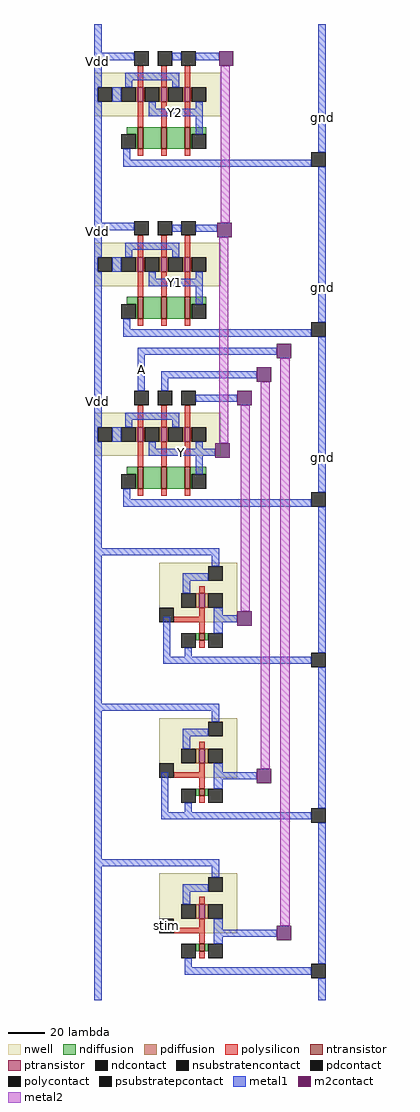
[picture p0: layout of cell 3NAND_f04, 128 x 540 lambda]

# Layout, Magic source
magic
tech tsmc
<< nwell >>
rect -18 180 52 204
rect -18 86 52 110
rect -18 -8 52 16
<< ntransistor >>
rect 6 162 9 174
rect 19 162 22 174
rect 32 162 35 174
rect 6 68 9 80
rect 19 68 22 80
rect 32 68 35 80
rect 6 -26 9 -14
rect 19 -26 22 -14
rect 32 -26 35 -14
<< ptransistor >>
rect 6 188 9 196
rect 19 188 22 196
rect 32 188 35 196
rect 6 94 9 102
rect 19 94 22 102
rect 32 94 35 102
rect 6 0 9 8
rect 19 0 22 8
rect 32 0 35 8
<< ndiffusion >>
rect 0 170 6 174
rect 5 162 6 170
rect 9 162 19 174
rect 22 162 32 174
rect 35 170 44 174
rect 35 162 36 170
rect 0 76 6 80
rect 5 68 6 76
rect 9 68 19 80
rect 22 68 32 80
rect 35 76 44 80
rect 35 68 36 76
rect 0 -18 6 -14
rect 5 -26 6 -18
rect 9 -26 19 -14
rect 22 -26 32 -14
rect 35 -18 44 -14
rect 35 -26 36 -18
<< pdiffusion >>
rect 5 188 6 196
rect 9 188 10 196
rect 18 188 19 196
rect 22 188 23 196
rect 31 188 32 196
rect 35 188 36 196
rect 5 94 6 102
rect 9 94 10 102
rect 18 94 19 102
rect 22 94 23 102
rect 31 94 32 102
rect 35 94 36 102
rect 5 0 6 8
rect 9 0 10 8
rect 18 0 19 8
rect 22 0 23 8
rect 31 0 32 8
rect 35 0 36 8
<< ndcontact >>
rect -3 162 5 170
rect 36 162 44 170
rect -3 68 5 76
rect 36 68 44 76
rect -3 -26 5 -18
rect 36 -26 44 -18
<< pdcontact >>
rect -3 188 5 196
rect 10 188 18 196
rect 23 188 31 196
rect 36 188 44 196
rect -3 94 5 102
rect 10 94 18 102
rect 23 94 31 102
rect 36 94 44 102
rect -3 0 5 8
rect 10 0 18 8
rect 23 0 31 8
rect 36 0 44 8
<< psubstratepcontact >>
rect 102 152 110 160
rect 102 58 110 66
rect 102 -36 110 -28
<< nsubstratencontact >>
rect -16 188 -8 196
rect -16 94 -8 102
rect -16 0 -8 8
<< polysilicon >>
rect 6 196 9 208
rect 19 196 22 208
rect 32 196 35 208
rect 6 174 9 188
rect 19 174 22 188
rect 32 174 35 188
rect 6 158 9 162
rect 19 158 22 162
rect 32 158 35 162
rect 6 102 9 114
rect 19 102 22 114
rect 32 102 35 114
rect 6 80 9 94
rect 19 80 22 94
rect 32 80 35 94
rect 6 64 9 68
rect 19 64 22 68
rect 32 64 35 68
rect 6 8 9 20
rect 19 8 22 20
rect 32 8 35 20
rect 6 -14 9 0
rect 19 -14 22 0
rect 32 -14 35 0
rect 6 -30 9 -26
rect 19 -30 22 -26
rect 32 -30 35 -26
<< polycontact >>
rect 4 208 12 216
rect 17 208 25 216
rect 30 208 38 216
rect 4 114 12 122
rect 17 114 25 122
rect 30 114 38 122
rect 4 20 12 28
rect 17 20 25 28
rect 30 20 38 28
<< metal1 >>
rect -18 215 -14 231
rect -18 211 4 215
rect -18 196 -14 211
rect 25 211 30 215
rect 38 211 51 215
rect -1 200 29 204
rect -1 196 3 200
rect 25 196 29 200
rect -18 188 -16 196
rect -8 188 -3 196
rect -18 121 -14 188
rect 12 184 16 188
rect 38 184 42 188
rect 12 180 42 184
rect 38 170 42 180
rect -2 156 2 162
rect 106 160 110 231
rect -2 152 102 156
rect -18 117 4 121
rect -18 102 -14 117
rect 25 116 30 120
rect 38 116 50 120
rect -1 106 29 110
rect -1 102 3 106
rect 25 102 29 106
rect -18 94 -16 102
rect -8 94 -3 102
rect -18 8 -14 94
rect 12 90 16 94
rect 38 90 42 94
rect 12 86 42 90
rect 38 76 42 86
rect -2 62 2 68
rect 106 66 110 152
rect -2 58 102 62
rect 6 48 83 52
rect 6 28 10 48
rect 19 35 72 39
rect 19 28 23 35
rect 38 22 61 26
rect -1 12 29 16
rect -1 8 3 12
rect 25 8 29 12
rect -18 0 -16 8
rect -8 0 -3 8
rect -18 -51 -14 0
rect 12 -4 16 0
rect 38 -4 42 0
rect 12 -8 49 -4
rect 38 -18 42 -8
rect -2 -32 2 -26
rect 106 -28 110 58
rect -2 -36 102 -32
rect 106 -51 110 -36
rect 20 -119 24 -97
rect 50 -100 61 -96
rect 20 -123 32 -119
rect 19 -205 23 -183
rect 52 -187 72 -183
rect 19 -209 32 -205
rect 53 -274 83 -270
<< m2contact >>
rect 51 208 59 216
rect 50 113 58 121
rect 83 46 91 54
rect 72 33 80 41
rect 61 20 69 28
rect 49 -9 57 -1
rect 61 -102 69 -94
rect 72 -189 80 -181
rect 83 -276 91 -268
<< metal2 >>
rect 52 121 57 208
rect 51 -1 56 113
rect 63 -94 68 20
rect 74 -181 79 33
rect 85 -268 90 46
use 1INV  1INV_0
transform 1 0 31 0 1 -117
box -49 -20 79 66
use 1INV  1INV_1
transform 1 0 31 0 1 -203
box -49 -20 79 66
use 1INV  1INV_2
transform 1 0 31 0 1 -289
box -49 -20 79 66
<< labels >>
rlabel metal1 108 -9 108 -9 7 gnd
rlabel metal1 -16 22 -16 22 3 Vdd
rlabel metal1 108 85 108 85 7 gnd
rlabel metal1 -16 116 -16 116 3 Vdd
rlabel metal1 108 179 108 179 7 gnd
rlabel metal1 -16 210 -16 210 3 Vdd
rlabel metal1 12 86 42 90 1 Y1
rlabel metal1 12 180 42 184 1 Y2
rlabel space 18 -272 26 -264 1 stim
rlabel metal1 6 28 10 52 1 A
rlabel metal1 12 -8 49 -4 1 Y
<< end >>

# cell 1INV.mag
magic
tech tsmc
<< nwell >>
rect -13 17 30 50
<< ntransistor >>
rect 9 7 12 11
<< ptransistor >>
rect 9 25 12 33
<< ndiffusion >>
rect 7 7 9 11
rect 12 7 14 11
<< pdiffusion >>
rect 7 25 9 33
rect 12 25 14 33
<< ndcontact >>
rect -1 3 7 11
rect 14 3 22 11
<< pdcontact >>
rect -1 25 7 33
rect 14 25 22 33
<< psubstratepcontact >>
rect 71 -8 79 0
<< nsubstratencontact >>
rect 14 40 22 48
<< polysilicon >>
rect 9 33 12 37
rect 9 20 12 25
rect -5 17 12 20
rect 9 11 12 17
rect 9 3 12 7
<< polycontact >>
rect -13 17 -5 25
<< metal1 >>
rect -49 58 -45 66
rect -49 54 20 58
rect -49 -20 -45 54
rect 16 48 20 54
rect 0 40 14 44
rect 0 33 4 40
rect 17 11 22 25
rect 1 -2 5 3
rect 75 0 79 66
rect 1 -6 71 -2
rect 75 -20 79 -8
<< end >>
